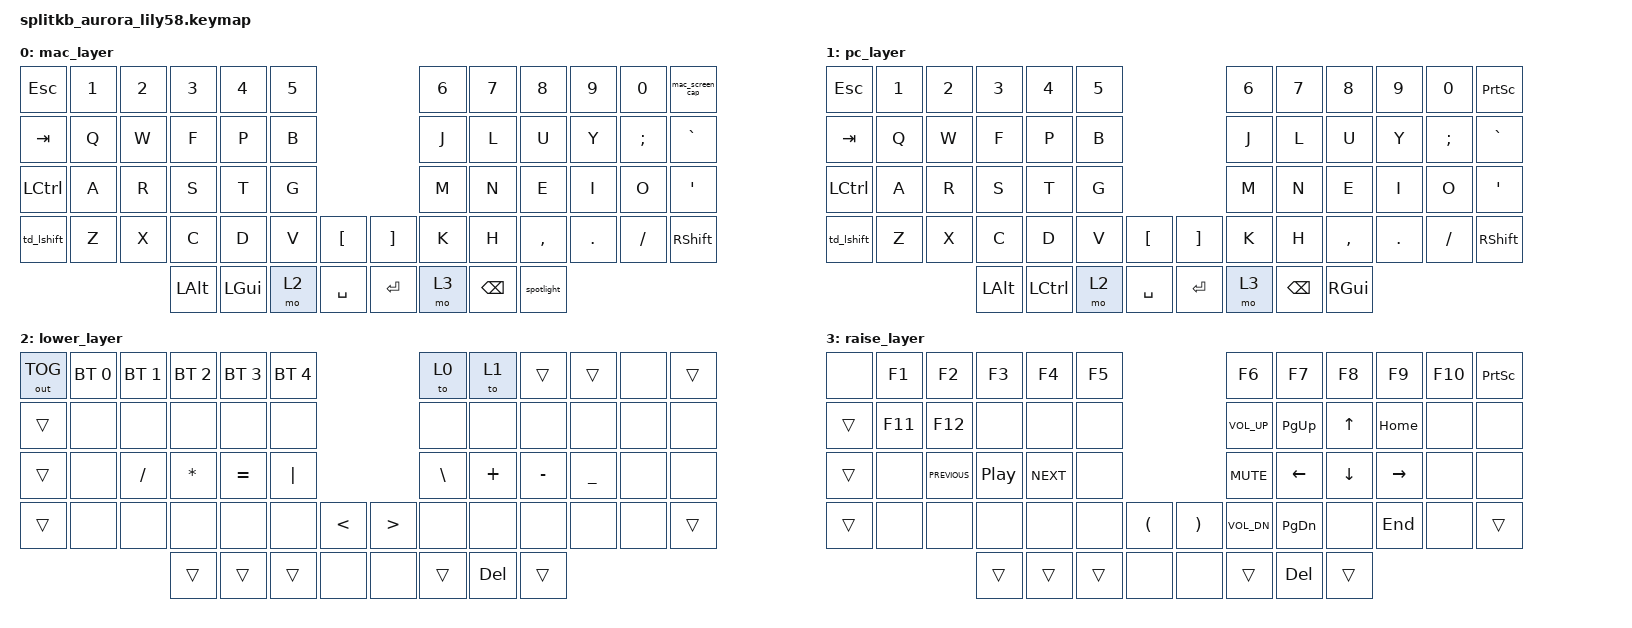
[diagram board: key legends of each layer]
/*
 * Copyright (c) 2022 The ZMK Contributors
 *
 * SPDX-License-Identifier: MIT
 */

#include <behaviors.dtsi>
#include <dt-bindings/zmk/bt.h>
#include <dt-bindings/zmk/keys.h>
#include <dt-bindings/zmk/outputs.h>

#define LO 1
#define HI 2

/ {
    macros {
        switch_pc: switch_pc {
            compatible = "zmk,behavior-macro";
            #binding-cells = <0>;
            bindings = <&bt BT_SEL 1 &to 1>;
            label = "SWITCH_PC";
        };

        switch_mac: switch_mac {
            compatible = "zmk,behavior-macro";
            #binding-cells = <0>;
            bindings = <&bt BT_SEL 0 &to 0>;
            label = "SWITCH_MAC";
        };

        mac_screen_cap: mac_screen_cap {
            compatible = "zmk,behavior-macro";
            #binding-cells = <0>;
            bindings = <&kp LG(LS(NUMBER_4))>;
            label = "MAC_SCREEN_CAP";
        };

        spotlight: spotlight {
            compatible = "zmk,behavior-macro";
            #binding-cells = <0>;
            bindings = <&kp LG(SPACE)>;
            label = "SPOTLIGHT";
        };
    };

    combos {
        compatible = "zmk,combos";

        clear_bt {
            bindings = <&bt BT_CLR>;
            key-positions = <52 55 0>;
        };
    };

    behaviors {
        td_lshift: tap_dance_left_shift {
            compatible = "zmk,behavior-tap-dance";
            #binding-cells = <0>;
            tapping-term-ms = <200>;
            bindings = <&kp LSHFT>, <&kp CAPS>;
        };
    };

    keymap {
        compatible = "zmk,keymap";

        mac_layer {
            bindings = <
&kp ESC          &kp N1  &kp N2  &kp N3    &kp N4    &kp N5                         &kp N6  &kp N7    &kp N8      &kp N9   &kp N0    &mac_screen_cap
&kp TAB          &kp Q   &kp W   &kp F     &kp P     &kp B                          &kp J   &kp L     &kp U       &kp Y    &kp SEMI  &kp GRAVE
&kp LCTRL        &kp A   &kp R   &kp S     &kp T     &kp G                          &kp M   &kp N     &kp E       &kp I    &kp O     &kp SQT
&td_lshift       &kp Z   &kp X   &kp C     &kp D     &kp V   &kp LBKT     &kp RBKT  &kp K   &kp H     &kp COMMA   &kp DOT  &kp FSLH  &kp RSHFT
                                 &kp LALT  &kp LGUI  &mo 2   &kp SPACE    &kp RET   &mo 3   &kp BSPC  &spotlight
            >;
        };

        pc_layer {
            // ------------------------------------------------------------------------------------------------------------
            // |  ESC  |  1  |  2  |  3   |  4   |  5   |                   |  6   |  7    |  8    |  9   |   0   |   `   |
            // |  TAB  |  Q  |  W  |  F   |  P   |  B   |                   |  J   |  L    |  U    |  Y   |   ;   |   -   |
            // |  CTRL |  A  |  R  |  S   |  T   |  G   |                   |  M   |  N    |  E    |  I   |   O   |   '   |
            // | SHIFT |  Z  |  X  |  C   |  D   |  V   |   "["  |  |  "]"  |  N   |  M    |  ,    |  .   |   /   | SHIFT |
            //                     | ALT  | GUI  | LOWER|  SPACE |  | ENTER | RAISE| BSPC  | GUI   |

            bindings = <
&kp ESC     &kp N1  &kp N2  &kp N3    &kp N4     &kp N5                         &kp N6  &kp N7    &kp N8     &kp N9   &kp N0    &kp PRINTSCREEN
&kp TAB     &kp Q   &kp W   &kp F     &kp P      &kp B                          &kp J   &kp L     &kp U      &kp Y    &kp SEMI  &kp GRAVE
&kp LCTRL   &kp A   &kp R   &kp S     &kp T      &kp G                          &kp M   &kp N     &kp E      &kp I    &kp O     &kp SQT
&td_lshift  &kp Z   &kp X   &kp C     &kp D      &kp V   &kp LBKT     &kp RBKT  &kp K   &kp H     &kp COMMA  &kp DOT  &kp FSLH  &kp RSHFT
                            &kp LALT  &kp LCTRL  &mo 2   &kp SPACE    &kp RET   &mo 3   &kp BSPC  &kp RGUI
            >;
        };

        lower_layer {
            bindings = <
&out OUT_TOG  &bt BT_SEL 0  &bt BT_SEL 1  &bt BT_SEL 2  &bt BT_SEL 3  &bt BT_SEL 4                                     &to 0          &to 1       &trans     &trans          &none  &trans
&trans        &none         &none         &none         &none         &none                                            &none          &none       &none      &none           &none  &none
&trans        &none         &kp SLASH     &kp ASTERISK  &kp EQUAL     &kp PIPE                                         &kp BACKSLASH  &kp PLUS    &kp MINUS  &kp UNDERSCORE  &none  &none
&trans        &none         &none         &none         &none         &none         &kp LESS_THAN    &kp GREATER_THAN  &none          &none       &none      &none           &none  &trans
                                          &trans        &trans        &trans        &none            &none             &trans         &kp DELETE  &trans
            >;
        };

        raise_layer {
            bindings = <
&none   &kp F1   &kp F2          &kp F3            &kp F4      &kp F5                                                 &kp F6        &kp F7     &kp F8    &kp F9     &kp F10  &kp PRINTSCREEN
&trans  &kp F11  &kp F12         &none             &none       &none                                                  &kp C_VOL_UP  &kp PG_UP  &kp UP    &kp HOME   &none    &none
&trans  &none    &kp C_PREVIOUS  &kp C_PLAY_PAUSE  &kp C_NEXT  &none                                                  &kp C_MUTE    &kp LEFT   &kp DOWN  &kp RIGHT  &none    &none
&trans  &none    &none           &none             &none       &none   &kp LEFT_PARENTHESIS    &kp RIGHT_PARENTHESIS  &kp C_VOL_DN  &kp PG_DN  &none     &kp END    &none    &trans
                                 &trans            &trans      &trans  &none                   &none                  &trans        &kp DEL    &trans
            >;
        };
    };
};
